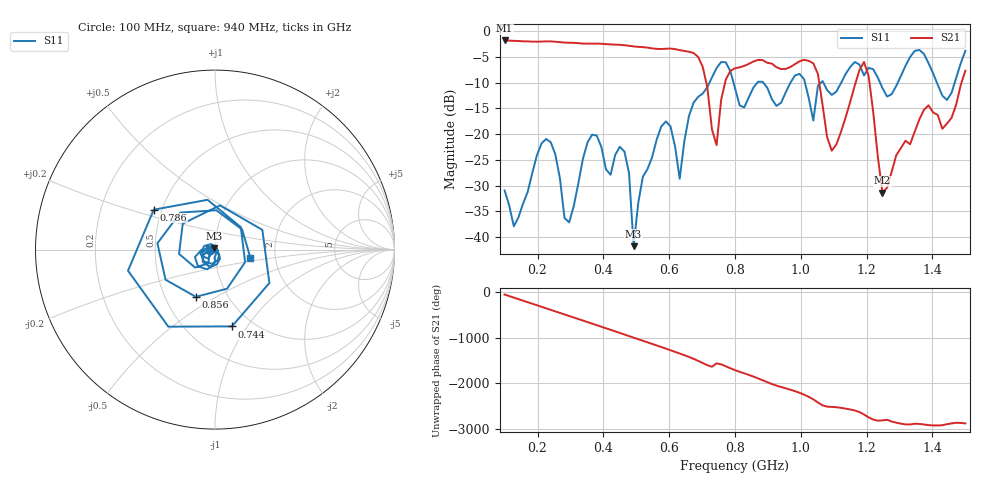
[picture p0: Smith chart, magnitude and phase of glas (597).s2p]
! NanoVNA-App
! Date: 2025-09-25 16:00:07
! Start: 100MHz Stop: 1,5GHz Points: 101
! S-Parameter data: F S11 S21 S12 S22
# Hz S RI R 50
!  Frequency  S11_Real  S11_Imag  S21_Real  S21_Imag  S12_Real  S12_Imag  S22_Real  S22_Imag
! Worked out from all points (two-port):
!   101 points, 100 MHz to 1.5 GHz, reference 50 ohm
!   highest |S21| = -1.80 dB at 100 MHz (marker M1); lowest = -31.3 dB at 1.248 GHz (marker M2)
!   |S21| within 3 dB of the highest: start of sweep to 684.4 MHz
!   lowest |S11| = -41.7 dB at 492 MHz (marker M3), VSWR 1.02, Z = 49.5 + j0.628 ohm
!   |S11| at or under -10 dB: start of sweep to 722.5 MHz; 795.5 MHz to 867.8 MHz (72.32 MHz wide, 8.7 % of centre); 886.1 MHz to 968.4 MHz (82.28 MHz wide, 8.87 % of centre) (the widest 3 of 7)
!   S12 and S22 are empty: the file has one direction only
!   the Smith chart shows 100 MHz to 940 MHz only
!   S11 on the Smith chart (normalised r, x): 100 MHz: 0.95, -0.01; 744 MHz: 0.81, -0.85; 786 MHz: 0.45, +0.24; 856 MHz: 0.71, -0.41; 940 MHz: 1.48, -0.14
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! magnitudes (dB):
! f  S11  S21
! 100 MHz  -30.9  -1.8
! 128 MHz  -37.9  -1.9
! 226 MHz  -20.9  -2.0
! 296 MHz  -37.1  -2.2
! 338 MHz  -24.8  -2.4
! 464 MHz  -23.4  -2.7
! 492 MHz  -41.7  -3.0
! 576 MHz  -18.5  -3.5
! 632 MHz  -28.7  -3.7
! 702 MHz  -12.1  -7.0
! 744 MHz  -7.2  -22.1
! 786 MHz  -7.8  -7.7
! 800 MHz  -11.0  -7.2
! 856 MHz  -10.9  -5.9
! 940 MHz  -13.9  -7.3
! 996 MHz  -8.3  -5.8
! 1.038 GHz  -17.3  -6.2
! 1.094 GHz  -12.4  -23.2
! 1.192 GHz  -8.6  -6.0
! 1.248 GHz  -11.0  -31.3
! 1.276 GHz  -12.2  -27.3
! 1.5 GHz  -3.8  -7.7
